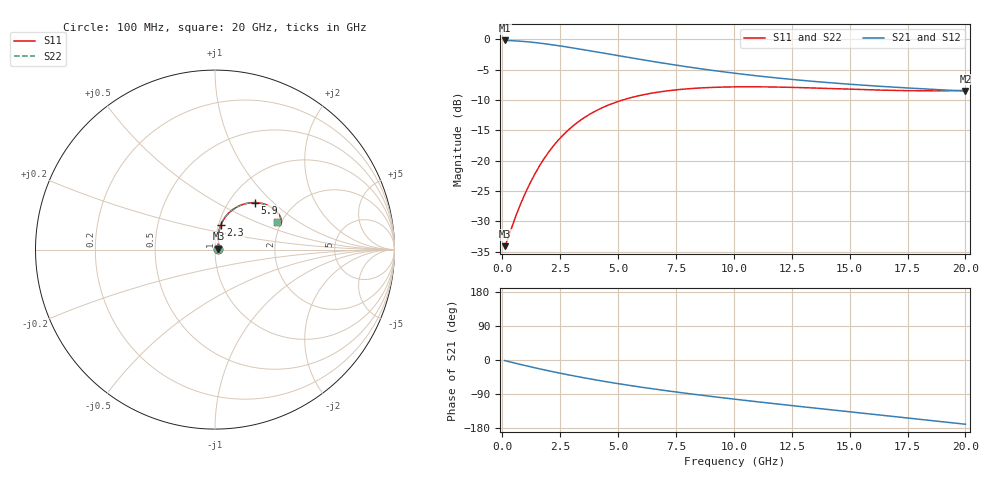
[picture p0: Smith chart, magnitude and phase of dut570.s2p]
! Touchstone file exported from HFSS 2024.1.0
!  File:  C:/UserFiles/LocalFiles/RDL_TSV_Batchsim/temp_RDL_TSV_570_1779754560.aedt
!  Generated:  08:30:46 AM May 26, 2026
!  Design:  RDL_TSV
!  Project:  temp_RDL_TSV_570_1779754560
!  Setup:  Setup1
!  Solution:  Sweep
! Variables:
!  dtsv = 7.43um
!  hbump = 3um
!  htsv = 78.76um
!  ldown = 190.48um
!  lrdl = 411.38um
!  p = 40
!  p1 = 56.25um
!  rhole = 10um
!  subl = 2216.96um
!  t = 450um
!  tdown = 3.42um
!  trdl = 2.93um
!  viad = 10um
!  wdown = 23.1um
!  wrdl = 12.65um
!  xbump = 18um
# GHz S MA R 50.000000
! Terminal data exported
! Port[1] = TM1_1_T1
! Port[2] = TM1_4_T1
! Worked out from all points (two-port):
!   200 points, 100 MHz to 20 GHz, reference 50 ohm
!   highest |S21| = -0.17 dB at 100 MHz (marker M1); lowest = -8.5 dB at 20 GHz (marker M2)
!   |S21| within 3 dB of the highest: start of sweep to 5.774 GHz
!   lowest |S11| = -34.1 dB at 100 MHz (marker M3), VSWR 1.04, Z = 51.9 + j0.536 ohm
!   |S11| at or under -10 dB: start of sweep to 5.184 GHz
!   |S22| runs from -34.1 to -7.8 dB; largest |S21 - S12| = 8.6e-15
!   S11 on the Smith chart (normalised r, x): 100 MHz: 1.04, +0.01; 2.3 GHz: 1.03, +0.28; 5.9 GHz: 1.31, +0.78; 20 GHz: 1.90, +0.68
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0.1  0.01978 15.1  0.9806 -1.5  0.9806 -1.5  0.01979 15.1
! Gamma 0 0 0 0
! Port Impedance 50 0 50 0
0.2  0.02181 28.0  0.9798 -3.1  0.9798 -3.1  0.02181 28.0
0.7  0.03998 61.2  0.9694 -10.5  0.9694 -10.5  0.03998 61.2
0.9  0.04934 67.6  0.9631 -13.4  0.9631 -13.4  0.04934 67.5
1.2  0.06544 73.6  0.9516 -17.7  0.9516 -17.7  0.06543 73.5
1.7  0.09692 77.5  0.9281 -24.6  0.9281 -24.6  0.09687 77.5
2  0.1177 77.7  0.9121 -28.5  0.9121 -28.5  0.1177 77.6
2.3  0.1393 76.8  0.8952 -32.4  0.8952 -32.4  0.1392 76.8
2.9  0.1828 73.3  0.8597 -39.7  0.8597 -39.7  0.1826 73.2
3.5  0.2241 68.6  0.8234 -46.7  0.8234 -46.7  0.2238 68.6
4  0.2554 64.4  0.7934 -52.1  0.7934 -52.1  0.2552 64.4
4.6  0.2887 59.5  0.7583 -58.4  0.7583 -58.4  0.2884 59.4
5.9  0.3437 49.7  0.6878 -70.8  0.6878 -70.8  0.3433 49.6
6.8  0.3696 43.9  0.6445 -78.7  0.6445 -78.7  0.3691 43.8
8.4  0.3966 35.5  0.5792 -91.5  0.5792 -91.5  0.396 35.4
10.1  0.4067 28.9  0.5246 -103.9  0.5246 -103.9  0.4061 28.9
11.7  0.4056 24.6  0.4848 -114.9  0.4848 -114.9  0.4049 24.6
13.4  0.3982 21.8  0.4518 -126.2  0.4518 -126.2  0.3974 21.8
15  0.3891 20.7  0.4274 -136.7  0.4274 -136.7  0.3883 20.7
16.7  0.3808 20.8  0.4066 -147.8  0.4066 -147.8  0.3801 20.9
18.4  0.377 22.1  0.3894 -158.9  0.3894 -158.9  0.3763 22.2
20  0.3795 23.9  0.3755 -169.5  0.3755 -169.5  0.3788 24.0
